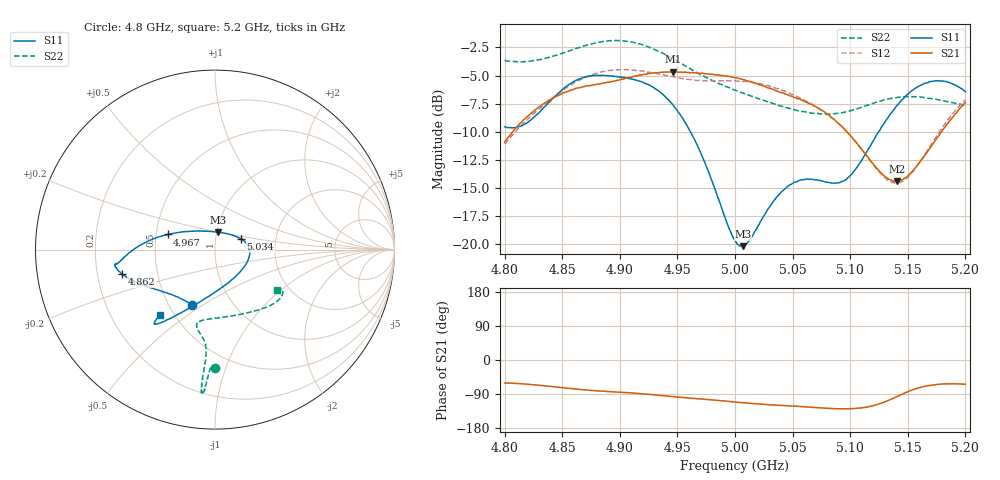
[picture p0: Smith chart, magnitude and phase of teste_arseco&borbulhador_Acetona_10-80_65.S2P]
! Network Analyzer HP8722D
! Hewlett-Packard
! Data name: Linha & Wilkinson
! Saver's name: Rodrigo Anjos
! Comments: Teste da utilização de aquisição
! continua pelo VNA HP8722D
! Time and date: 17/4/2025 14:54
!  Frequency  S11  S21  S12  S22
# HZ  S  MA R 50
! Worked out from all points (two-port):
!   401 points, 4.8 GHz to 5.2 GHz, reference 50 ohm
!   highest |S21| = -4.66 dB at 4.946 GHz (marker M1); lowest = -14.4 dB at 5.141 GHz (marker M2)
!   |S21| within 3 dB of the highest: 4.832 GHz to 5.068 GHz (236.5 MHz wide, 4.78 % of centre); 5.197621 GHz to end of sweep
!   lowest |S11| = -20.2 dB at 5.007 GHz (marker M3), VSWR 1.22, Z = 50.8 + j9.91 ohm
!   |S11| at or under -10 dB: 4.961 GHz to 5.125 GHz (163.3 MHz wide, 3.24 % of centre)
!   |S22| runs from -8.4 to -1.9 dB; largest |S21 - S12| = 0.88
!   S11 on the Smith chart (normalised r, x): 4.8 GHz: 0.65, -0.45; 4.862 GHz: 0.31, -0.12; 4.967 GHz: 0.57, +0.10; 5.034 GHz: 1.33, +0.16; 5.2 GHz: 0.42, -0.40
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4.8e9  0.3331 -112.8  0.2844 -60.6  0.2787 -174.9  0.6571 -89.9
4.819e9  0.3462 -132.9  0.3666 -63.8  0.3552 -173.3  0.6509 -91.4
4.862e9  0.5356 -165.3  0.4933 -76.8  0.5268 -176.4  0.7429 -93.6
4.867e9  0.5479 -167.2  0.5001 -78.2  0.5432 -177.5  0.7566 -93.8
4.902e9  0.551 -171.8  0.5409 -85.1  0.5975 175.3  0.8031 -95.2
4.934e9  0.4787 -177.9  0.5788 -93.3  0.5724 172.1  0.7185 -95.6
4.946e9  0.4168 176.6  0.5845 -96.6  0.5553 172.1  0.6681 -95.3
4.967e9  0.2776 162.3  0.5769 -101.9  0.5349 174.0  0.5789 -95.0
5e9  0.1042 103.6  0.5494 -110.9  0.5335 176.4  0.4845 -99.0
5.007e9  0.0982 79.5  0.5396 -112.6  0.5291 176.4  0.4695 -100.7
5.013e9  0.105 60.6  0.5282 -114.2  0.5251 176.0  0.4573 -101.9
5.034e9  0.1571 22.3  0.4856 -119.1  0.4978 175.1  0.4208 -103.6
5.05e9  0.1866 5.8  0.453 -121.7  0.4627 174.3  0.3992 -99.6
5.067e9  0.1946 -12.3  0.4171 -124.8  0.4187 173.8  0.3827 -91.1
5.087e9  0.1871 -44.3  0.3548 -128.5  0.3546 173.7  0.3809 -75.9
5.097e9  0.195 -64.9  0.3167 -129.0  0.317 174.4  0.3884 -67.6
5.134e9  0.3736 -115.7  0.1942 -105.6  0.1911 -158.4  0.4439 -42.9
5.141e9  0.4155 -119.7  0.1904 -95.7  0.1874 -147.5  0.45 -39.8
5.152e9  0.4741 -124.3  0.206 -81.1  0.2037 -130.4  0.4532 -35.9
5.17e9  0.5288 -128.4  0.2713 -66.5  0.2765 -112.7  0.4448 -31.8
5.184e9  0.5271 -129.7  0.3415 -62.9  0.3532 -107.1  0.4314 -30.8
5.2e9  0.4767 -130.2  0.4257 -64.0  0.4384 -106.1  0.4146 -33.1
